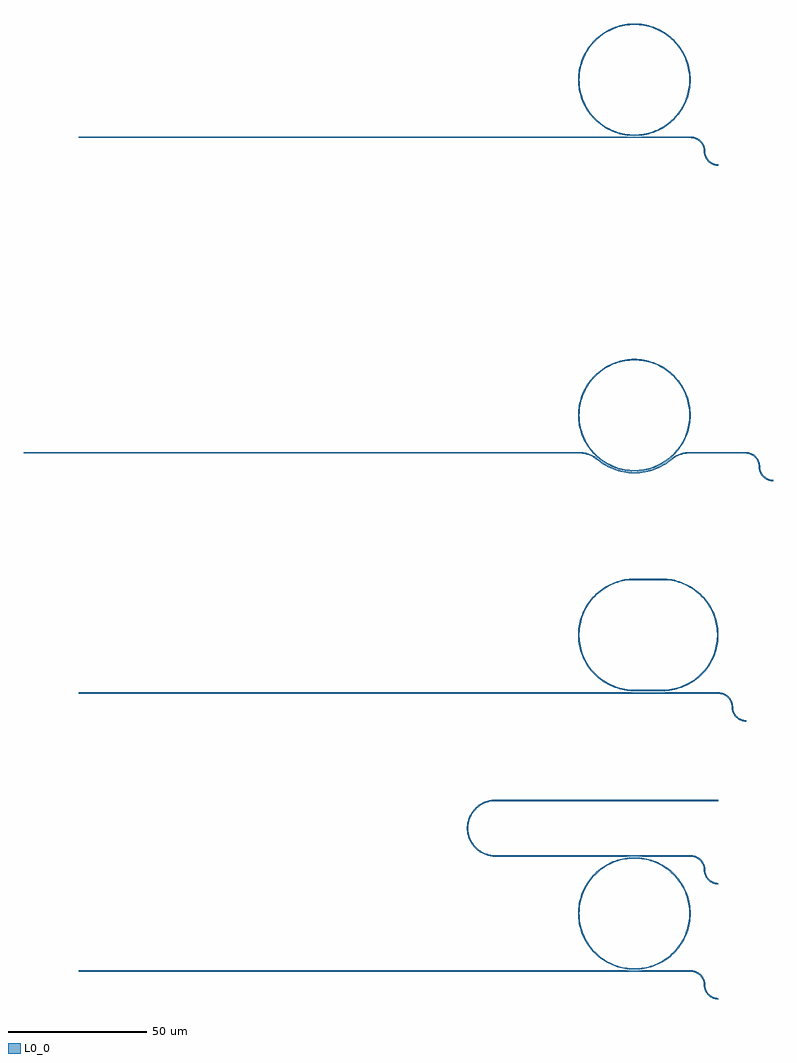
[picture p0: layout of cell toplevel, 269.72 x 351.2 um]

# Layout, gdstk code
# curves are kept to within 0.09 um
from math import pi, radians
import gdstk
lib = gdstk.Library(unit=1e-6, precision=1e-09)
def R(c, l, rs):  # rectangles x0, y0, x1, y1
    for r in rs: c.add(gdstk.rectangle(r[:2], r[2:], *l))
def P(c, l, *ps):  # polygons
    for p in ps: c.add(gdstk.Polygon(p, *l))
L0_0 = (0, 0)

arc = lib.new_cell('arc')
P(arc, L0_0, [(4.75,0),(4.674,0.848),(4.447,1.669),(4.078,2.436),(3.577,3.125),(2.962,3.714),(2.061,4.28),(1.057,4.631),(0,4.75),(0,5.25),(0.937,5.166),(2.063,4.828),(3.086,4.247),(3.954,3.454),(4.382,2.892),(4.73,2.278),(5.118,1.168),(5.25,0)])

rect = lib.new_cell('rect')
R(rect, L0_0, [(0,-0.25,20.25,0.25)])
rect.add(gdstk.Reference(arc, (20.25,-5)))
rect.add(gdstk.Reference(arc, (30.25,-5), rotation=3*pi/2, x_reflection=True))

rect002 = lib.new_cell('rect002')
R(rect002, L0_0, [(0,0,200,0.5)])

ring = lib.new_cell('ring')
P(ring, L0_0, [(19.75,0),(19.675,1.721),(19.45,3.43),(18.836,5.939),(17.9,8.347),(16.657,10.612),(15.669,12.023),(14.561,13.343),(12.695,15.129),(10.612,16.657),(9.12,17.518),(7.558,18.247),(5.939,18.836),(4.275,19.282),(1.721,19.675),(0,19.75),(-1.721,19.675),(-4.275,19.282),(-5.939,18.836),(-7.558,18.247),(-9.875,17.104),(-12.023,15.669),(-13.965,13.965),(-15.669,12.023),(-16.657,10.612),(-17.9,8.347),(-18.836,5.939),(-19.45,3.43),(-19.731,0.861),(-19.675,-1.721),(-19.282,-4.275),(-18.836,-5.939),(-17.9,-8.347),(-16.657,-10.612),(-15.129,-12.695),(-13.343,-14.561),(-12.023,-15.669),(-9.875,-17.104),(-7.558,-18.247),(-5.939,-18.836),(-3.43,-19.45),(-0.861,-19.731),(1.721,-19.675),(4.275,-19.282),(5.939,-18.836),(8.347,-17.9),(10.612,-16.657),(12.695,-15.129),(14.561,-13.343),(15.669,-12.023),(17.104,-9.875),(18.247,-7.558),(19.077,-5.112),(19.581,-2.578),(19.75,0),(20.25,0),(20.077,-2.643),(19.77,-4.383),(19.313,-6.089),(18.709,-7.749),(17.537,-10.125),(16.588,-11.615),(15.512,-13.016),(14.319,-14.319),(13.016,-15.512),(11.615,-16.588),(10.125,-17.537),(7.749,-18.709),(6.089,-19.313),(4.383,-19.77),(2.643,-20.077),(0,-20.25),(-2.643,-20.077),(-4.383,-19.77),(-6.089,-19.313),(-7.749,-18.709),(-10.125,-17.537),(-11.615,-16.588),(-13.016,-15.512),(-14.319,-14.319),(-15.512,-13.016),(-16.588,-11.615),(-17.537,-10.125),(-18.709,-7.749),(-19.313,-6.089),(-19.77,-4.383),(-20.077,-2.643),(-20.25,0),(-20.077,2.643),(-19.77,4.383),(-19.313,6.089),(-18.709,7.749),(-17.537,10.125),(-16.588,11.615),(-15.512,13.016),(-14.319,14.319),(-13.016,15.512),(-11.615,16.588),(-10.125,17.537),(-7.749,18.709),(-6.089,19.313),(-4.383,19.77),(-2.643,20.077),(0,20.25),(2.643,20.077),(4.383,19.77),(6.089,19.313),(7.749,18.709),(10.125,17.537),(11.615,16.588),(13.016,15.512),(14.319,14.319),(16.065,12.327),(17.079,10.88),(18.353,8.558),(19.029,6.926),(19.77,4.383),(20.173,1.765),(20.25,0)])

arc006 = lib.new_cell('arc006')
P(arc006, L0_0, [(4.75,0),(4.674,0.848),(4.447,1.669),(4.078,2.436),(3.577,3.125),(2.962,3.714),(2.061,4.28),(1.057,4.631),(0,4.75),(0,5.25),(0.937,5.166),(2.063,4.828),(3.086,4.247),(3.954,3.454),(4.382,2.892),(4.73,2.278),(5.118,1.168),(5.25,0)])

rect003 = lib.new_cell('rect003')
R(rect003, L0_0, [(0,-0.25,20.25,0.25)])
rect003.add(gdstk.Reference(arc006, (20.25,-5)))
rect003.add(gdstk.Reference(arc006, (30.25,-5), rotation=3*pi/2, x_reflection=True))

rect004 = lib.new_cell('rect004')
R(rect004, L0_0, [(0,0,200,0.5)])

arc007 = lib.new_cell('arc007')
P(arc007, L0_0, [(20.45,0),(20.361,1.901),(20.097,3.785),(19.374,6.545),(18.682,8.318),(17.828,10.018),(16.82,11.632),(15.666,13.145),(16.049,13.466),(17.231,11.916),(18.264,10.263),(19.139,8.521),(19.848,6.705),(20.588,3.878),(20.859,1.947),(20.95,0)])

arc008 = lib.new_cell('arc008')
P(arc008, L0_0, [(9.75,0),(9.582,1.805),(9.082,3.547),(8.5,4.776),(7.469,6.267),(7.852,6.589),(8.692,5.432),(9.16,4.6),(9.853,2.825),(10.15,1.427),(10.25,0)])

ring009 = lib.new_cell('ring009')
P(ring009, L0_0, [(19.75,0),(19.675,1.721),(19.45,3.43),(18.836,5.939),(17.9,8.347),(16.657,10.612),(15.669,12.023),(14.561,13.343),(12.695,15.129),(10.612,16.657),(9.12,17.518),(7.558,18.247),(5.939,18.836),(4.275,19.282),(1.721,19.675),(0,19.75),(-1.721,19.675),(-4.275,19.282),(-5.939,18.836),(-7.558,18.247),(-9.875,17.104),(-12.023,15.669),(-13.965,13.965),(-15.669,12.023),(-16.657,10.612),(-17.9,8.347),(-18.836,5.939),(-19.45,3.43),(-19.731,0.861),(-19.675,-1.721),(-19.282,-4.275),(-18.836,-5.939),(-17.9,-8.347),(-16.657,-10.612),(-15.129,-12.695),(-13.343,-14.561),(-12.023,-15.669),(-9.875,-17.104),(-7.558,-18.247),(-5.939,-18.836),(-3.43,-19.45),(-0.861,-19.731),(1.721,-19.675),(4.275,-19.282),(5.939,-18.836),(8.347,-17.9),(10.612,-16.657),(12.695,-15.129),(14.561,-13.343),(15.669,-12.023),(17.104,-9.875),(18.247,-7.558),(19.077,-5.112),(19.581,-2.578),(19.75,0),(20.25,0),(20.077,-2.643),(19.77,-4.383),(19.313,-6.089),(18.709,-7.749),(17.537,-10.125),(16.588,-11.615),(15.512,-13.016),(14.319,-14.319),(13.016,-15.512),(11.615,-16.588),(10.125,-17.537),(7.749,-18.709),(6.089,-19.313),(4.383,-19.77),(2.643,-20.077),(0,-20.25),(-2.643,-20.077),(-4.383,-19.77),(-6.089,-19.313),(-7.749,-18.709),(-10.125,-17.537),(-11.615,-16.588),(-13.016,-15.512),(-14.319,-14.319),(-15.512,-13.016),(-16.588,-11.615),(-17.537,-10.125),(-18.709,-7.749),(-19.313,-6.089),(-19.77,-4.383),(-20.077,-2.643),(-20.25,0),(-20.077,2.643),(-19.77,4.383),(-19.313,6.089),(-18.709,7.749),(-17.537,10.125),(-16.588,11.615),(-15.512,13.016),(-14.319,14.319),(-13.016,15.512),(-11.615,16.588),(-10.125,17.537),(-7.749,18.709),(-6.089,19.313),(-4.383,19.77),(-2.643,20.077),(0,20.25),(2.643,20.077),(4.383,19.77),(6.089,19.313),(7.749,18.709),(10.125,17.537),(11.615,16.588),(13.016,15.512),(14.319,14.319),(16.065,12.327),(17.079,10.88),(18.353,8.558),(19.029,6.926),(19.77,4.383),(20.173,1.765),(20.25,0)])

arc_with_rectangles005 = lib.new_cell('arc_with_rectangles005')
arc_with_rectangles005.add(gdstk.Reference(rect003, (19.734,-113.518)))
arc_with_rectangles005.add(gdstk.Reference(rect004, (-219.734,-113.768)))
arc_with_rectangles005.add(gdstk.Reference(arc007, (0,-100), rotation=3*pi/2))
arc_with_rectangles005.add(gdstk.Reference(arc007, (0,-100), rotation=radians(230)))
arc_with_rectangles005.add(gdstk.Reference(arc008, (-19.734,-123.518), rotation=pi/2, x_reflection=True))
arc_with_rectangles005.add(gdstk.Reference(arc008, (19.734,-123.518), rotation=pi/2))
arc_with_rectangles005.add(gdstk.Reference(ring009, (0,-100)))

arc011 = lib.new_cell('arc011')
P(arc011, L0_0, [(4.75,0),(4.674,0.848),(4.447,1.669),(4.078,2.436),(3.577,3.125),(2.962,3.714),(2.061,4.28),(1.057,4.631),(0,4.75),(0,5.25),(0.937,5.166),(2.063,4.828),(3.086,4.247),(3.954,3.454),(4.382,2.892),(4.73,2.278),(5.118,1.168),(5.25,0)])

rect1 = lib.new_cell('rect1')
R(rect1, L0_0, [(0,-0.25,30.25,0.25)])
rect1.add(gdstk.Reference(arc011, (30.25,-5)))
rect1.add(gdstk.Reference(arc011, (40.25,-5), rotation=3*pi/2, x_reflection=True))

rect2 = lib.new_cell('rect2')
R(rect2, L0_0, [(0,0,200,0.5)])

arc012 = lib.new_cell('arc012')
P(arc012, L0_0, [(19.75,0),(19.673,1.746),(19.269,4.334),(18.81,6.02),(18.205,7.659),(17.456,9.238),(16.572,10.744),(15.004,12.843),(13.81,14.119),(12.508,15.284),(11.108,16.33),(9.622,17.248),(8.06,18.031),(5.602,18.939),(3.907,19.36),(2.18,19.629),(0.437,19.745),(-1.31,19.707),(-3.046,19.514),(-5.602,18.939),(-7.254,18.37),(-9.622,17.248),(-11.108,16.33),(-12.508,15.284),(-13.81,14.119),(-15.004,12.843),(-16.08,11.467),(-17.031,10.001),(-17.848,8.457),(-18.81,6.02),(-19.269,4.334),(-19.673,1.746),(-19.75,0),(-20.25,0),(-20.171,1.79),(-19.934,3.565),(-19.541,5.313),(-18.665,7.853),(-17.898,9.472),(-16.991,11.016),(-15.951,12.475),(-14.786,13.836),(-13.505,15.089),(-11.39,16.743),(-9.865,17.684),(-8.264,18.487),(-5.744,19.418),(-4.005,19.85),(-2.235,20.126),(-0.448,20.245),(1.343,20.205),(3.124,20.008),(4.88,19.653),(7.438,18.835),(9.073,18.104),(10.638,17.231),(12.825,15.671),(14.16,14.476),(15.384,13.168),(16.991,11.016),(18.3,8.671),(18.994,7.019),(19.756,4.444),(20.171,1.79),(20.25,0)])

rect3 = lib.new_cell('rect3')
R(rect3, L0_0, [(0,0,10,0.5)])

arc_with_rectangles010 = lib.new_cell('arc_with_rectangles010')
arc_with_rectangles010.add(gdstk.Reference(rect1, (0,-200)))
arc_with_rectangles010.add(gdstk.Reference(rect2, (-200,-200.25)))
arc_with_rectangles010.add(gdstk.Reference(arc012, (10,-179.05), rotation=3*pi/2))
arc_with_rectangles010.add(gdstk.Reference(arc012, (0,-179.05), rotation=pi/2))
arc_with_rectangles010.add(gdstk.Reference(rect3, (0,-159.3)))
arc_with_rectangles010.add(gdstk.Reference(rect3, (0,-199.3)))

arc017 = lib.new_cell('arc017')
P(arc017, L0_0, [(4.75,0),(4.674,0.848),(4.447,1.669),(4.078,2.436),(3.577,3.125),(2.962,3.714),(2.061,4.28),(1.057,4.631),(0,4.75),(0,5.25),(0.937,5.166),(2.063,4.828),(3.086,4.247),(3.954,3.454),(4.382,2.892),(4.73,2.278),(5.118,1.168),(5.25,0)])

rect1013 = lib.new_cell('rect1013')
R(rect1013, L0_0, [(0,-0.25,20.25,0.25)])
rect1013.add(gdstk.Reference(arc017, (20.25,-5)))
rect1013.add(gdstk.Reference(arc017, (30.25,-5), rotation=3*pi/2, x_reflection=True))

rect2014 = lib.new_cell('rect2014')
R(rect2014, L0_0, [(0,0,200,0.5)])

ring018 = lib.new_cell('ring018')
P(ring018, L0_0, [(19.75,0),(19.675,1.721),(19.45,3.43),(18.836,5.939),(17.9,8.347),(16.657,10.612),(15.669,12.023),(14.561,13.343),(12.695,15.129),(10.612,16.657),(9.12,17.518),(7.558,18.247),(5.939,18.836),(4.275,19.282),(1.721,19.675),(0,19.75),(-1.721,19.675),(-4.275,19.282),(-5.939,18.836),(-7.558,18.247),(-9.875,17.104),(-12.023,15.669),(-13.965,13.965),(-15.669,12.023),(-16.657,10.612),(-17.9,8.347),(-18.836,5.939),(-19.45,3.43),(-19.731,0.861),(-19.675,-1.721),(-19.282,-4.275),(-18.836,-5.939),(-17.9,-8.347),(-16.657,-10.612),(-15.129,-12.695),(-13.343,-14.561),(-12.023,-15.669),(-9.875,-17.104),(-7.558,-18.247),(-5.939,-18.836),(-3.43,-19.45),(-0.861,-19.731),(1.721,-19.675),(4.275,-19.282),(5.939,-18.836),(8.347,-17.9),(10.612,-16.657),(12.695,-15.129),(14.561,-13.343),(15.669,-12.023),(17.104,-9.875),(18.247,-7.558),(19.077,-5.112),(19.581,-2.578),(19.75,0),(20.25,0),(20.077,-2.643),(19.77,-4.383),(19.313,-6.089),(18.709,-7.749),(17.537,-10.125),(16.588,-11.615),(15.512,-13.016),(14.319,-14.319),(13.016,-15.512),(11.615,-16.588),(10.125,-17.537),(7.749,-18.709),(6.089,-19.313),(4.383,-19.77),(2.643,-20.077),(0,-20.25),(-2.643,-20.077),(-4.383,-19.77),(-6.089,-19.313),(-7.749,-18.709),(-10.125,-17.537),(-11.615,-16.588),(-13.016,-15.512),(-14.319,-14.319),(-15.512,-13.016),(-16.588,-11.615),(-17.537,-10.125),(-18.709,-7.749),(-19.313,-6.089),(-19.77,-4.383),(-20.077,-2.643),(-20.25,0),(-20.077,2.643),(-19.77,4.383),(-19.313,6.089),(-18.709,7.749),(-17.537,10.125),(-16.588,11.615),(-15.512,13.016),(-14.319,14.319),(-13.016,15.512),(-11.615,16.588),(-10.125,17.537),(-7.749,18.709),(-6.089,19.313),(-4.383,19.77),(-2.643,20.077),(0,20.25),(2.643,20.077),(4.383,19.77),(6.089,19.313),(7.749,18.709),(10.125,17.537),(11.615,16.588),(13.016,15.512),(14.319,14.319),(16.065,12.327),(17.079,10.88),(18.353,8.558),(19.029,6.926),(19.77,4.383),(20.173,1.765),(20.25,0)])

arc019 = lib.new_cell('arc019')
P(arc019, L0_0, [(9.75,0),(9.598,1.717),(9.286,2.972),(8.987,3.781),(8.181,5.304),(7.407,6.34),(6.818,6.97),(5.484,8.062),(3.979,8.901),(2.349,9.463),(1.504,9.633),(0.216,9.748),(-1.504,9.633),(-3.177,9.218),(-4.75,8.515),(-5.484,8.062),(-6.503,7.265),(-7.68,6.006),(-8.618,4.56),(-9.145,3.38),(-9.512,2.14),(-9.712,0.862),(-9.75,0),(-10.25,0),(-10.09,1.805),(-9.891,2.689),(-9.448,3.975),(-8.839,5.19),(-8.345,5.951),(-7.167,7.328),(-6.492,7.932),(-5.385,8.722),(-3.765,9.534),(-2.027,10.047),(-0.227,10.247),(1.581,10.127),(2.47,9.948),(3.765,9.534),(4.593,9.164),(5.765,8.475),(6.492,7.932),(7.484,7.003),(8.074,6.315),(8.839,5.19),(9.448,3.975),(9.762,3.124),(10.16,1.357),(10.25,0)])

rect3015 = lib.new_cell('rect3015')
R(rect3015, L0_0, [(0,0,50,0.5)])

rect4 = lib.new_cell('rect4')
R(rect4, L0_0, [(0,0,80.25,0.5)])

arc_with_rectangles016 = lib.new_cell('arc_with_rectangles016')
arc_with_rectangles016.add(gdstk.Reference(rect1013, (0,-300)))
arc_with_rectangles016.add(gdstk.Reference(rect2014, (-200,-300.25)))
arc_with_rectangles016.add(gdstk.Reference(ring018, (0,-279.3)))
arc_with_rectangles016.add(gdstk.Reference(rect1013, (0,-258.6)))
arc_with_rectangles016.add(gdstk.Reference(arc019, (-50,-248.6), rotation=pi/2))
arc_with_rectangles016.add(gdstk.Reference(rect3015, (-50,-258.85)))
arc_with_rectangles016.add(gdstk.Reference(rect4, (-50,-238.85)))

toplevel = lib.new_cell('toplevel')
toplevel.add(gdstk.Reference(rect, (0,0)))
toplevel.add(gdstk.Reference(rect002, (-200,-0.25)))
toplevel.add(gdstk.Reference(ring, (0,20.7)))
toplevel.add(gdstk.Reference(arc_with_rectangles005, (0,0)))
toplevel.add(gdstk.Reference(arc_with_rectangles010, (0,0)))
toplevel.add(gdstk.Reference(arc_with_rectangles016, (0,0)))

lib.write_gds('toplevel.gds')
